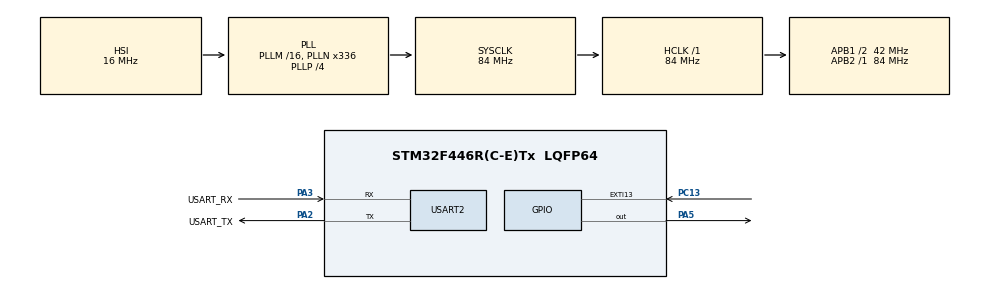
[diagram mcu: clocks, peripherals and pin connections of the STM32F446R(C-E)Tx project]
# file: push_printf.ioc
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Mcu.Family=STM32F4
Mcu.Name=STM32F446R(C-E)Tx
Mcu.Package=LQFP64
NVIC.EXTI15_10_IRQn=true\:1\:0\:true\:false\:true\:true\:true\:true
NVIC.PriorityGroup=NVIC_PRIORITYGROUP_4
PA13.GPIO_Label=TMS
PA13.Mode=Serial_Wire
PA13.Signal=SYS_JTMS-SWDIO
PA14.GPIO_Label=TCK
PA14.Mode=Serial_Wire
PA14.Signal=SYS_JTCK-SWCLK
PA2.GPIO_Label=USART_TX
PA2.Mode=Asynchronous
PA2.Signal=USART2_TX
PA3.GPIO_Label=USART_RX
PA3.Mode=Asynchronous
PA3.Signal=USART2_RX
PA5.PinState=GPIO_PIN_SET
PA5.Signal=GPIO_Output
PB3.GPIO_Label=SWO
PB3.Signal=SYS_JTDO-SWO
PC13.GPIO_ModeDefaultEXTI=GPIO_MODE_IT_FALLING
PC13.Signal=GPXTI13
PC14-OSC32_IN.Mode=LSE-External-Oscillator
PC14-OSC32_IN.Signal=RCC_OSC32_IN
PC15-OSC32_OUT.Mode=LSE-External-Oscillator
PC15-OSC32_OUT.Signal=RCC_OSC32_OUT
PH0-OSC_IN.Mode=HSE-External-Oscillator
PH0-OSC_IN.Signal=RCC_OSC_IN
PH1-OSC_OUT.Mode=HSE-External-Oscillator
PH1-OSC_OUT.Signal=RCC_OSC_OUT
ProjectManager.HeapSize=0x200
ProjectManager.StackSize=0x400
ProjectManager.TargetToolchain=STM32CubeIDE
RCC.48MHZClocksFreq_Value=84000000
RCC.AHBFreq_Value=84000000
RCC.APB1CLKDivider=RCC_HCLK_DIV2
RCC.APB1Freq_Value=42000000
RCC.APB1TimFreq_Value=84000000
RCC.APB2Freq_Value=84000000
RCC.APB2TimFreq_Value=84000000
RCC.CortexFreq_Value=84000000
RCC.FLatency-AdvancedSettings=FLASH_LATENCY_2
RCC.HCLKFreq_Value=84000000
RCC.HSE_VALUE=8000000
RCC.HSI_VALUE=16000000
RCC.PLLN=336
RCC.PLLP=RCC_PLLP_DIV4
RCC.SYSCLKFreq_VALUE=84000000
RCC.SYSCLKSource=RCC_SYSCLKSOURCE_PLLCLK
RCC.USBFreq_Value=168000000
RCC.VCOOutputFreq_Value=336000000
USART2.VirtualMode=VM_ASYNC
board=NUCLEO-F446RE

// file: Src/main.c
/* USER CODE BEGIN Header */
/* push_printfのプログラム。GPIO_Interrupt と printf_TeraTermの合成。
 * それにいろいろコメントなどを追加したもの。2022.05.03　shimojo
 */
/**
  ******************************************************************************
  * @file           : main.c
  * @brief          : Main program body
  ******************************************************************************
  * @attention
  *
  * Copyright (c) 2022 STMicroelectronics.
  * All rights reserved.
  *
  * This software is licensed under terms that can be found in the LICENSE file
  * in the root directory of this software component.
  * If no LICENSE file comes with this software, it is provided AS-IS.
  *
  ******************************************************************************
  */
/* USER CODE END Header */
#include "main.h"

/* USER CODE BEGIN Includes */
#include <stdio.h>
/* USER CODE END Includes */

 UART_HandleTypeDef huart2;

void SystemClock_Config(void);
static void MX_GPIO_Init(void);
static void MX_USART2_UART_Init(void);

/* USER CODE BEGIN 0 */
__IO uint8_t Pushed;  //shimojo
//ARMは環境依存の変数型を無くすために普通のCとは違う名前で型が宣言だそうです
//uint8_t Pushed; //これでも動作した
int ic;  //icounter
//ic=0;
/* USER CODE END 0 */

int main(void)
{
  /* USER CODE BEGIN 1 */
	setbuf(stdout, NULL); //bufferを提供
	ic=0;
  /* USER CODE END 1 */

  /* MCU Configuration--------------------------------------------------------*/

  /* Reset of all peripherals, Initializes the Flash interface and the Systick. */
  HAL_Init();

  /* Configure the system clock */
  SystemClock_Config();

  /* Initialize all configured peripherals */
  MX_GPIO_Init();
  MX_USART2_UART_Init();
  /* USER CODE BEGIN 2 */
  printf("Hello World!! \r\n");
  //printf("Hello World again!! %d\r\n",ic);
  //HAL_Delay(1000);
  /* USER CODE END 2 */

  /* Infinite loop */
  while (1)
  {

    /* USER CODE BEGIN 3 */
	  Pushed = 0; //shimojo
	  while (Pushed == 0)
		  ; //ここでループして待っている
	  HAL_GPIO_TogglePin(GPIOA, GPIO_PIN_5); //blueBotton_Pushで実行
	  printf("Hello World in user code 3 ic= %d\r\n",ic);
  }// end of while(1)ですね
  /* USER CODE END 3 */
}

void SystemClock_Config(void)
{
  RCC_OscInitTypeDef RCC_OscInitStruct = {0};
  RCC_ClkInitTypeDef RCC_ClkInitStruct = {0};

  /** Configure the main internal regulator output voltage
  */
  __HAL_RCC_PWR_CLK_ENABLE();
  __HAL_PWR_VOLTAGESCALING_CONFIG(PWR_REGULATOR_VOLTAGE_SCALE3);

  /** Initializes the RCC Oscillators according to the specified parameters
  * in the RCC_OscInitTypeDef structure.
  */
  RCC_OscInitStruct.OscillatorType = RCC_OSCILLATORTYPE_HSI;
  RCC_OscInitStruct.HSIState = RCC_HSI_ON;
  RCC_OscInitStruct.HSICalibrationValue = RCC_HSICALIBRATION_DEFAULT;
  RCC_OscInitStruct.PLL.PLLState = RCC_PLL_ON;
  RCC_OscInitStruct.PLL.PLLSource = RCC_PLLSOURCE_HSI;
  RCC_OscInitStruct.PLL.PLLM = 16;
  RCC_OscInitStruct.PLL.PLLN = 336;
  RCC_OscInitStruct.PLL.PLLP = RCC_PLLP_DIV4;
  RCC_OscInitStruct.PLL.PLLQ = 2;
  RCC_OscInitStruct.PLL.PLLR = 2;
  if (HAL_RCC_OscConfig(&RCC_OscInitStruct) != HAL_OK)
  {
    Error_Handler();
  }

  /** Initializes the CPU, AHB and APB buses clocks
  */
  RCC_ClkInitStruct.ClockType = RCC_CLOCKTYPE_HCLK|RCC_CLOCKTYPE_SYSCLK
                              |RCC_CLOCKTYPE_PCLK1|RCC_CLOCKTYPE_PCLK2;
  RCC_ClkInitStruct.SYSCLKSource = RCC_SYSCLKSOURCE_PLLCLK;
  RCC_ClkInitStruct.AHBCLKDivider = RCC_SYSCLK_DIV1;
  RCC_ClkInitStruct.APB1CLKDivider = RCC_HCLK_DIV2;
  RCC_ClkInitStruct.APB2CLKDivider = RCC_HCLK_DIV1;

  if (HAL_RCC_ClockConfig(&RCC_ClkInitStruct, FLASH_LATENCY_2) != HAL_OK)
  {
    Error_Handler();
  }
}

static void MX_USART2_UART_Init(void)
{

  huart2.Instance = USART2;
  huart2.Init.BaudRate = 115200;
  huart2.Init.WordLength = UART_WORDLENGTH_8B;
  huart2.Init.StopBits = UART_STOPBITS_1;
  huart2.Init.Parity = UART_PARITY_NONE;
  huart2.Init.Mode = UART_MODE_TX_RX;
  huart2.Init.HwFlowCtl = UART_HWCONTROL_NONE;
  huart2.Init.OverSampling = UART_OVERSAMPLING_16;
  if (HAL_UART_Init(&huart2) != HAL_OK)
  {
    Error_Handler();
  }

}

static void MX_GPIO_Init(void)
{
  GPIO_InitTypeDef GPIO_InitStruct = {0};

  /* GPIO Ports Clock Enable */
  __HAL_RCC_GPIOC_CLK_ENABLE();
  __HAL_RCC_GPIOH_CLK_ENABLE();
  __HAL_RCC_GPIOA_CLK_ENABLE();
  __HAL_RCC_GPIOB_CLK_ENABLE();

  /*Configure GPIO pin Output Level */
  HAL_GPIO_WritePin(GPIOA, GPIO_PIN_5, GPIO_PIN_SET);

  /*Configure GPIO pin : PC13 */
  GPIO_InitStruct.Pin = GPIO_PIN_13;
  GPIO_InitStruct.Mode = GPIO_MODE_IT_FALLING;
  GPIO_InitStruct.Pull = GPIO_NOPULL;
  HAL_GPIO_Init(GPIOC, &GPIO_InitStruct);

  /*Configure GPIO pin : PA5 */
  GPIO_InitStruct.Pin = GPIO_PIN_5;
  GPIO_InitStruct.Mode = GPIO_MODE_OUTPUT_PP;
  GPIO_InitStruct.Pull = GPIO_NOPULL;
  GPIO_InitStruct.Speed = GPIO_SPEED_FREQ_LOW;
  HAL_GPIO_Init(GPIOA, &GPIO_InitStruct);

  /* EXTI interrupt init*/
  HAL_NVIC_SetPriority(EXTI15_10_IRQn, 1, 0);
  HAL_NVIC_EnableIRQ(EXTI15_10_IRQn);

}

/* USER CODE BEGIN 4 */
void HAL_GPIO_EXTI_Callback(uint16_t GPIO_Pin) //blueBottonの割込みルーチン
{
	if (GPIO_Pin == GPIO_PIN_13)
	{
		Pushed = 1;
		ic=ic+1;
/*
		HAL_NVIC_DisableIRQ(EXTI15_10_IRQn);//shimojo
		EXIT15_10からの割込みをdisableにする
*/
//		printf("Hello World in interrupt_Handler \r\n");
	}
}
//
int _write(int file, char *ptr, int len)
{
  HAL_UART_Transmit(&huart2,(uint8_t *)ptr,len,10);
  return len;
}
/* USER CODE END 4 */

void Error_Handler(void)
{
  __disable_irq();
  while (1)
  {
  }
}
